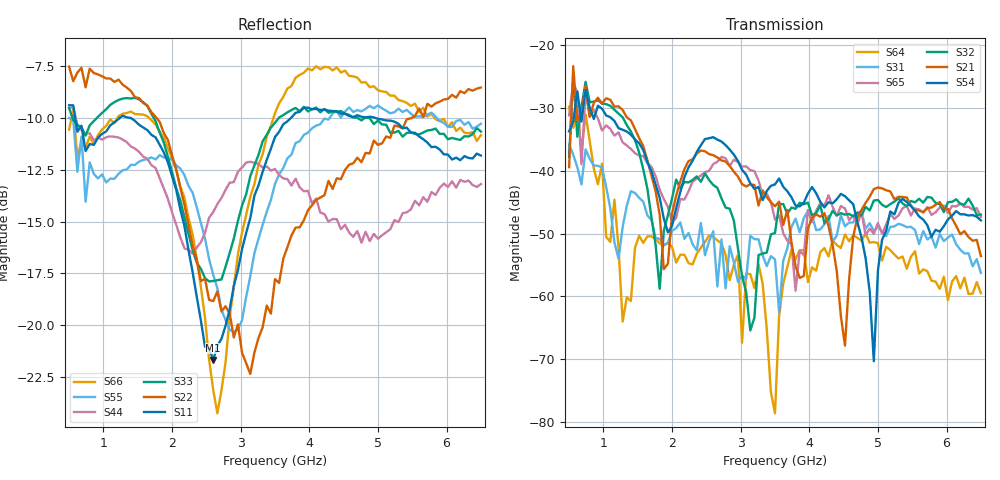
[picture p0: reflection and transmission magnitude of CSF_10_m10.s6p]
!Keysight Technologies,M9804A,MY58100912,A.14.10.03
!Date: Thursday, April 27, 2023 10:28:33
!Correction: S11(C  6-Port  )
!S12(C  6-Port  )
!S13(C  6-Port  )
!S14(C  6-Port  )
!S15(C  6-Port  )
!S16(C  6-Port  )
!S21(C  6-Port  )
!S22(C  6-Port  )
!S23(C  6-Port  )
!S24(C  6-Port  )
!S25(C  6-Port  )
!S26(C  6-Port  )
!S31(C  6-Port  )
!S32(C  6-Port  )
!S33(C  6-Port  )
!S34(C  6-Port  )
!S35(C  6-Port  )
!S36(C  6-Port  )
!S41(C  6-Port  )
!S42(C  6-Port  )
!S43(C  6-Port  )
!S44(C  6-Port  )
!S45(C  6-Port  )
!S46(C  6-Port  )
!S51(C  6-Port  )
!S52(C  6-Port  )
!S53(C  6-Port  )
!S54(C  6-Port  )
!S55(C  6-Port  )
!S56(C  6-Port  )
!S61(C  6-Port  )
!S62(C  6-Port  )
!S63(C  6-Port  )
!S64(C  6-Port  )
!S65(C  6-Port  )
!S66(C  6-Port  )
!S6P File: Measurement: :
# Hz S  RI  R 50
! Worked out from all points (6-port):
!   101 points, 500 MHz to 6.5 GHz, reference 50 ohm
!   strongest paths, dB at 500 MHz, 2 GHz, 3.5 GHz, 5 GHz, 6.5 GHz:
!     S54: -33.7, -48.8, -42.2, -55.9, -47.9
!     S21: -39.4, -46.8, -45.6, -42.6, -53.6
!     S32: -37.8, -44.4, -49.9, -44.6, -47.0
!     S65: -31.2, -48.2, -47.8, -48.3, -47.3
!     S31: -35.8, -49.5, -54.1, -48.9, -56.3
!     S64: -29.8, -52.1, -78.6, -51.5, -59.5
!   lowest |S11| = -21.7 dB at 2.6 GHz (marker M1), VSWR 1.18, Z = 42.7 + j2.1 ohm
!   |S11| at or under -10 dB: 589.1 MHz to 1.237 GHz (648 MHz wide, 71 % of centre); 1.403 GHz to 3.731 GHz (2.328 GHz wide, 90.7 % of centre); 4.968 GHz to end of sweep
